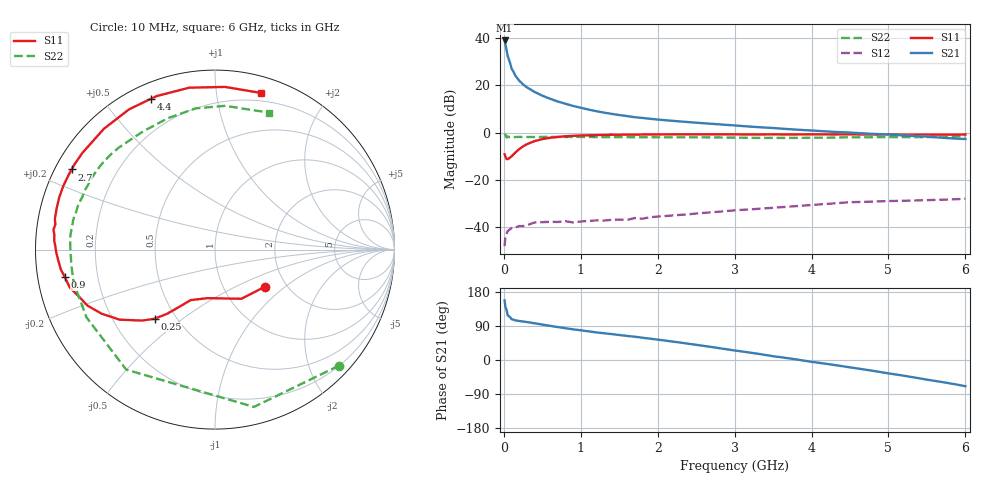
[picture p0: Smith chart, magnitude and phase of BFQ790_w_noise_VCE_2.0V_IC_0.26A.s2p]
! (c) 2015  Infineon Technologies AG, Munich
! Infineon Technologies  Discrete & RF Semiconductors
! BFQ790
! VCE =  2.0 V,  IC = 0.26 A
! Common Emitter S-Parameters:  May 2015
# GHz  S  MA  R  50
!  f  S11  S21  S12  S22
! GHz  MAG  ANG  MAG  ANG  MAG  ANG  MAG  ANG
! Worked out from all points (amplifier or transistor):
!   77 points, 10 MHz to 6 GHz, reference 50 ohm
!   highest |S21| = 39.1 dB at 10 MHz (marker M1)
!   |S21| within 3 dB of that: start of sweep to 28.91 MHz
!   unconditionally stable (mu >= 1): 230.5 MHz to 396.4 MHz; 562.1 MHz to 767 MHz; 827.1 MHz to end of sweep
!   at 130 MHz: K = 0.75, MSG = 32.9 dB, |S12| = -40.4 dB
!   at 2.2 GHz: K = 1.28, MAG = 16.9 dB, |S12| = -35.1 dB
!   at 6 GHz: K = 1.10, MAG = 10.7 dB, |S12| = -28.1 dB
!   lowest NFmin = 3.78 dB at 1.5 GHz
!   S11 on the Smith chart (normalised r, x): 10 MHz: 1.57, -0.73; 250 MHz: 0.38, -0.40; 900 MHz: 0.08, -0.09; 2.7 GHz: 0.05, +0.26; 4.4 GHz: 0.07, +0.66; 6 GHz: 0.13, +1.33
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0.01  0.3473 -36.4  89.68 157.2  0.0039 67.7  0.9463 -43.1
0.02  0.3108 -61.8  73.95 140.2  0.0063 55.8  0.903 -76.1
0.05  0.2738 -99.0  41.57 117.5  0.0082 29.9  0.8318 -126.5
0.1  0.3123 -115.7  22.91 107.7  0.0094 19.2  0.8094 -152.2
0.15  0.3777 -122.1  16.04 104.6  0.0097 18.8  0.8035 -162.6
0.2  0.4458 -126.7  12.6 102.9  0.0104 20.6  0.8073 -168.0
0.25  0.5107 -131.1  10.51 101.6  0.0104 15.9  0.805 -171.7
0.3  0.5661 -135.7  9.05 100.1  0.0109 15.7  0.8045 -174.5
0.4  0.6594 -143.7  7.246 96.8  0.0124 13.8  0.8049 -178.6
0.5  0.7255 -150.5  6.054 93.4  0.0126 9.8  0.8068 178.4
0.6  0.7753 -156.2  5.223 90.2  0.0128 15.1  0.8094 175.8
0.7  0.805 -161.4  4.562 86.9  0.0127 16.6  0.8089 173.6
0.9  0.8503 -169.6  3.665 80.9  0.0124 12.4  0.8061 170.1
1.1  0.8754 -176.1  3.074 75.6  0.0134 12.9  0.8055 166.7
1.5  0.899 174.7  2.352 66.0  0.0143 15.6  0.799 161.0
2.1  0.9129 163.5  1.826 51.2  0.017 16.7  0.7938 152.1
2.7  0.9149 150.8  1.532 34.3  0.0204 12.5  0.7877 140.1
3.1  0.9115 141.6  1.376 22.4  0.023 7.0  0.7764 130.9
4.1  0.9138 119.3  1.079 -7.5  0.0299 -8.1  0.7782 107.2
4.4  0.9128 112.9  1.016 -16.3  0.0325 -14.2  0.7883 100.0
5.1  0.9089 96.6  0.887 -38.3  0.0355 -29.2  0.8012 83.8
6  0.9094 73.7  0.728 -69.1  0.0394 -50.8  0.8208 68.5
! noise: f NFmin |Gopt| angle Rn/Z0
0.45  6.29  0.51  143  0.62
0.9  4.4  0.63  169  0.19
1.5  3.78  0.73  -172  0.1
1.8  3.82  0.74  -166  0.12
2.6  4.01  0.76  -151  0.32
3.5  4.47  0.84  -134  0.73
